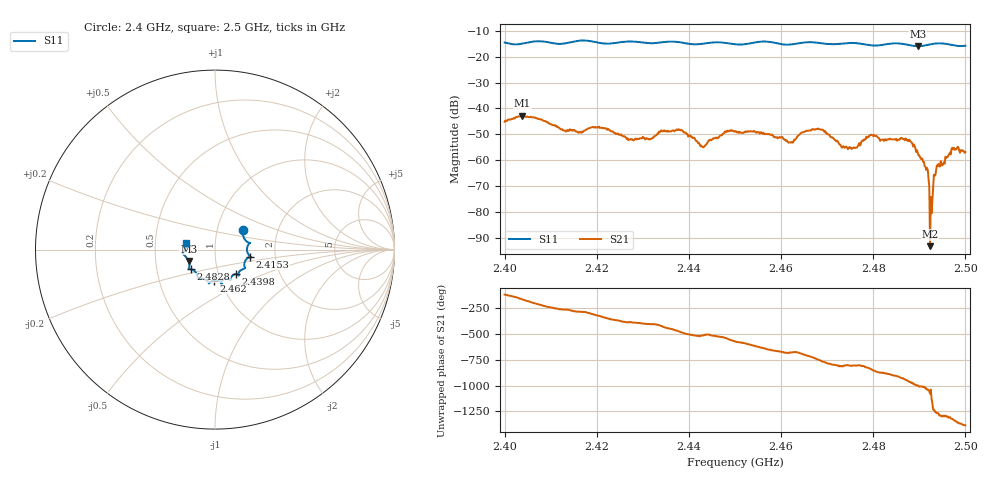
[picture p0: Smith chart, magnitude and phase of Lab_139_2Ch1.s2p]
# Hz S RI R 50
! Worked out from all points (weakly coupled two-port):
!   601 points, 2.4 GHz to 2.5 GHz, reference 50 ohm
!   highest |S21| = -42.82 dB at 2.4038 GHz (marker M1); lowest = -93.3 dB at 2.4923 GHz (marker M2)
!   lowest |S11| = -15.9 dB at 2.4897 GHz (marker M3), VSWR 1.38, Z = 36.9 - j4.85 ohm
!   |S11| at or under -10 dB: start of sweep to end of sweep
!   S12 and S22 are empty: the file has one direction only
!   S11 on the Smith chart (normalised r, x): 2.4 GHz: 1.33, +0.29; 2.4153 GHz: 1.48, -0.12; 2.4398 GHz: 1.21, -0.34; 2.462 GHz: 0.93, -0.33; 2.4828 GHz: 0.74, -0.17; 2.5 GHz: 0.72, +0.06
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2.4e9  0.1554 0.1067  -0.00239 -0.00499  0 0  0 0
2.403833e9  0.1729 0.0486  -0.00691 -0.00212  0 0  0 0
2.415333e9  0.1961 -0.0387  0.000514 0.00362  0 0  0 0
2.416667e9  0.2021 -0.0425  0.000852 0.00328  0 0  0 0
2.433333e9  0.1309 -0.1336  0.00203 -0.00251  0 0  0 0
2.439833e9  0.1157 -0.1364  -0.00221 -0.00181  0 0  0 0
2.443e9  0.089 -0.1551  -0.00157 -0.000853  0 0  0 0
2.45e9  0.065 -0.1624  -0.00305 0.00195  0 0  0 0
2.462e9  -0.00483 -0.1725  0.00169 0.00143  0 0  0 0
2.466667e9  -0.0342 -0.1883  0.00392 -0.000158  0 0  0 0
2.474833e9  -0.0922 -0.1603  0.000168 -0.00179  0 0  0 0
2.479667e9  -0.107 -0.1269  -0.00168 -0.00256  0 0  0 0
2.482833e9  -0.1362 -0.1092  -0.00227 -0.000818  0 0  0 0
2.483333e9  -0.1401 -0.1089  -0.00248 -0.000574  0 0  0 0
2.4875e9  -0.1426 -0.0927  -0.00143 0.00197  0 0  0 0
2.489667e9  -0.1468 -0.0639  0.000182 0.00138  0 0  0 0
2.4915e9  -0.1628 -0.0395  0.000394 0.000512  0 0  0 0
2.492333e9  -0.1708 -0.0317  2.16e-05 5.64e-07  0 0  0 0
2.492833e9  -0.1748 -0.0281  -1.2e-05 -0.000168  0 0  0 0
2.494167e9  -0.1809 -0.0222  -0.00082 0.000198  0 0  0 0
2.4975e9  -0.1668 -0.00192  -0.000404 0.00169  0 0  0 0
2.5e9  -0.1594 0.0385  0.000874 0.00114  0 0  0 0
